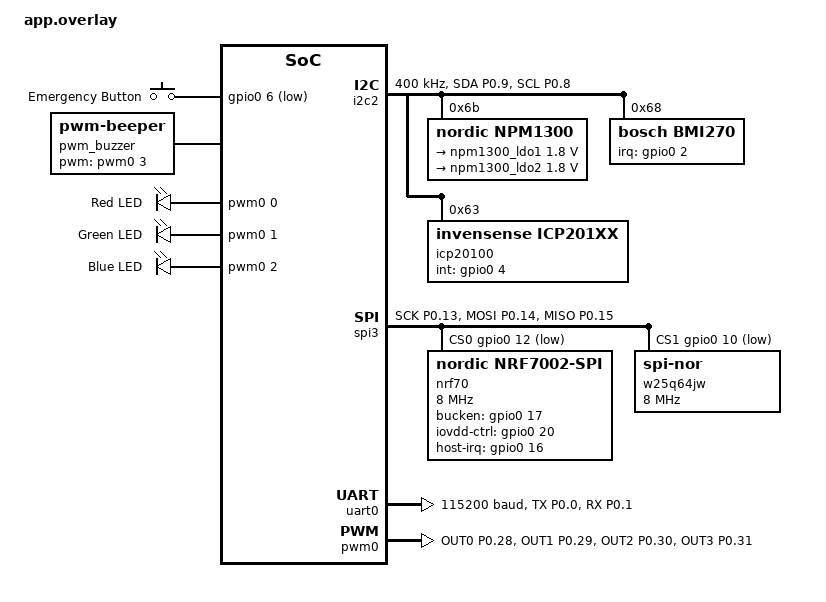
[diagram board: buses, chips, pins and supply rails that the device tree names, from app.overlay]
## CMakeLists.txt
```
# SPDX-License-Identifier: Apache-2.0
cmake_minimum_required(VERSION 3.20.0)

find_package(Zephyr REQUIRED HINTS $ENV{ZEPHYR_BASE})
project(gnss)

target_sources(app PRIVATE src/main.c)
```

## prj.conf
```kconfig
# ==========================================================
# SYSTEM, KERNEL & MEMORY
# ==========================================================
CONFIG_EVENTS=y
CONFIG_ZBUS=y
CONFIG_SMF=y
CONFIG_ZBUS_MSG_SUBSCRIBER=y

# --- ADJUSTED MEMORY LIMITS TO FIT IN RAM ---
CONFIG_MAIN_STACK_SIZE=4096
CONFIG_SYSTEM_WORKQUEUE_STACK_SIZE=4096
CONFIG_HEAP_MEM_POOL_SIZE=16000

# --- CATCH CRASHES IN HUMAN TEXT ---
CONFIG_HW_STACK_PROTECTION=y
CONFIG_INIT_STACKS=y
CONFIG_THREAD_STACK_INFO=y

# ==========================================================
# C++ & EDGE IMPULSE SDK (Replaces Picolibc)
# ==========================================================
CONFIG_CPP=y
CONFIG_STD_CPP17=y
CONFIG_REQUIRES_FULL_LIBCPP=y
CONFIG_NEWLIB_LIBC=y
CONFIG_NEWLIB_LIBC_FLOAT_PRINTF=y
CONFIG_CBPRINTF_FP_SUPPORT=y
CONFIG_FPU=y

# ==========================================================
# CONSOLE & LOGGING
# ==========================================================
CONFIG_SERIAL=y
CONFIG_CONSOLE=y
CONFIG_UART_CONSOLE=y
CONFIG_STDOUT_CONSOLE=y
CONFIG_PRINTK=y
CONFIG_LOG=y
CONFIG_LOG_MODE_IMMEDIATE=y
CONFIG_STACK_SENTINEL=y             

# ==========================================================
# SENSORS: I2C (BMI270/ICP20100 now driven by raw I2C)
# ==========================================================
CONFIG_I2C=y

CONFIG_ASSERT=y
CONFIG_THREAD_NAME=y
CONFIG_RESET_ON_FATAL_ERROR=n

# ==========================================================
# UI: OLED + PWM LEDs + BUZZER
# ==========================================================
CONFIG_DISPLAY=n
#CONFIG_SSD1306=y
#CONFIG_CHARACTER_FRAMEBUFFER=y
CONFIG_PWM=y
CONFIG_LED=y
CONFIG_LED_PWM=y

# ==========================================================
# PMIC: nPM1300
# ==========================================================
CONFIG_SENSOR=y
CONFIG_MFD_NPM13XX=y
CONFIG_REGULATOR=y
CONFIG_REGULATOR_NPM13XX=y
CONFIG_CHARGER=y
CONFIG_NPM13XX_CHARGER=y

# ==========================================================
# WI-FI (SCAN ONLY)
# ==========================================================
CONFIG_SPI=y
CONFIG_WIFI=y
CONFIG_WIFI_NRF70=y
CONFIG_NETWORKING=y
CONFIG_NET_MGMT=y
CONFIG_NET_MGMT_EVENT=y
CONFIG_NET_MGMT_EVENT_INFO=y
CONFIG_NET_MGMT_EVENT_QUEUE_SIZE=16
CONFIG_NET_L2_WIFI_MGMT=y

CONFIG_NET_L2_ETHERNET=y
CONFIG_NET_IPV4=y

CONFIG_NRF_WIFI_CTRL_HEAP_SIZE=10000
CONFIG_NRF_WIFI_DATA_HEAP_SIZE=12000


# Enable a random MAC address
CONFIG_WIFI_RANDOM_MAC_ADDRESS=y

# Enable a hardware entropy generator 
CONFIG_ENTROPY_GENERATOR=y

CONFIG_WIFI_LOG_LEVEL_INF=y
CONFIG_WIFI_NRF70_LOG_LEVEL_INF=y
CONFIG_NET_LOG=y

CONFIG_NRF70_RX_NUM_BUFS=4
CONFIG_NET_BUF_RX_COUNT=6
CONFIG_NET_BUF_TX_COUNT=6
CONFIG_NET_PKT_RX_COUNT=4
CONFIG_NET_PKT_TX_COUNT=4

CONFIG_NET_TX_STACK_SIZE=1024
CONFIG_NET_RX_STACK_SIZE=1024


# ==========================================================
# LTE MODEM (nRF9151 — socket offload for MQTT)
# ==========================================================
CONFIG_NRF_MODEM_LIB=y
CONFIG_LTE_LINK_CONTROL=y
CONFIG_LTE_NETWORK_MODE_LTE_M_GPS=y
CONFIG_MODEM_INFO=y
CONFIG_NET_SOCKETS=y
CONFIG_NET_SOCKETS_OFFLOAD=y
CONFIG_POSIX_API=y
# RC oscillator — no external 32 kHz crystal on custom PCB
CONFIG_CLOCK_CONTROL_NRF_K32SRC_XTAL=n
CONFIG_CLOCK_CONTROL_NRF_K32SRC_RC=y
CONFIG_CLOCK_CONTROL_NRF_K32SRC_500PPM=y

CONFIG_NET_IPV6=n

# ==========================================================
# MQTT
# ==========================================================
CONFIG_MQTT_HELPER=y
CONFIG_MQTT_CLEAN_SESSION=y
CONFIG_MQTT_KEEPALIVE=1200

CONFIG_MFD_NPM13XX_INIT_PRIORITY=74
CONFIG_REGULATOR_NPM13XX_COMMON_INIT_PRIORITY=75
CONFIG_REGULATOR_NPM13XX_INIT_PRIORITY=76
CONFIG_SENSOR_INIT_PRIORITY=80
CONFIG_WIFI_INIT_PRIORITY=85

CONFIG_BMI270=n
CONFIG_ICP201XX=n

# --- FIX NETWORK INTERFACE ALLOCATION CRASH ---
CONFIG_NET_IF_MAX_IPV4_COUNT=2
CONFIG_NET_IF_UNICAST_IPV4_ADDR_COUNT=2
CONFIG_NET_MAX_CONTEXTS=4

CONFIG_NET_TCP=n
CONFIG_NET_UDP=y
# ==========================================================
# EXTERNAL SPI NOR FLASH: Winbond W25Q64JW on SPI3 (CS=P0.10)
# ==========================================================
CONFIG_FLASH=y
CONFIG_FLASH_PAGE_LAYOUT=y
CONFIG_FLASH_MAP=y
CONFIG_SPI_NOR=y
# Sector-granularity flash layout (4 KB erase units)
CONFIG_SPI_NOR_FLASH_LAYOUT_PAGE_SIZE=4096

# ==========================================================
# A-GNSS: nRF Cloud assistance over REST (added for GNSS vs
# A-GNSS comparison test)
# ==========================================================

# NOTE: the device must be onboarded to an nRF Cloud account with
# credentials in sec tag 16842753 (CONFIG_NRF_CLOUD_SEC_TAG default),
# otherwise the REST call returns 401/403.
CONFIG_NRF_CLOUD=y
CONFIG_NRF_CLOUD_AGNSS=y
CONFIG_NRF_CLOUD_REST=y
# JWT authentication is generated by the modem itself
CONFIG_MODEM_JWT=y
# NRF_CLOUD_AGNSS dependency (network info in MODEM_INFO)
CONFIG_MODEM_INFO_ADD_NETWORK=y
# Time source for JWT validity
CONFIG_DATE_TIME=y
```

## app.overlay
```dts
#include <zephyr/dt-bindings/regulator/npm13xx.h>
#include <zephyr/dt-bindings/i2c/i2c.h>

&pinctrl {
    /* --- UART0 --- */
    uart0_default: uart0_default {
        group1 {
            psels = <NRF_PSEL(UART_TX, 0, 0)>,
                    <NRF_PSEL(UART_RX, 0, 1)>;
        };
    };
    uart0_sleep: uart0_sleep {
        group1 {
            psels = <NRF_PSEL(UART_TX, 0, 0)>,
                    <NRF_PSEL(UART_RX, 0, 1)>;
            low-power-enable;
        };
    };

    i2c2_default: i2c2_default {
        group1 {
            psels = <NRF_PSEL(TWIM_SDA, 0, 9)>,
                    <NRF_PSEL(TWIM_SCL, 0, 8)>;
        };
    };
    i2c2_sleep: i2c2_sleep {
        group1 {
            psels = <NRF_PSEL(TWIM_SDA, 0, 9)>,
                    <NRF_PSEL(TWIM_SCL, 0, 8)>;
            low-power-enable;
        };
    };

    /* --- SPI3 --- */
    spi3_default: spi3_default {
        group1 {
            psels = <NRF_PSEL(SPIM_SCK,  0, 13)>,
                    <NRF_PSEL(SPIM_MOSI, 0, 14)>,
                    <NRF_PSEL(SPIM_MISO, 0, 15)>;
            /* ADD THESE TWO LINES: */
            nordic,drive-mode = <NRF_DRIVE_H0H1>;
            bias-pull-up;
        };
    };
    spi3_sleep: spi3_sleep {
        group1 {
            psels = <NRF_PSEL(SPIM_SCK, 0, 13)>,
                    <NRF_PSEL(SPIM_MOSI, 0, 14)>,
                    <NRF_PSEL(SPIM_MISO, 0, 15)>;
            low-power-enable;
        };
    };

    /* --- PWM0 --- */
    pwm0_default: pwm0_default {
        group1 {
            /* RED=P0.28, GREEN=P0.29, BLUE=P0.30, BUZZER=P0.31 */
            psels = <NRF_PSEL(PWM_OUT0, 0, 28)>,
                    <NRF_PSEL(PWM_OUT1, 0, 29)>,
                    <NRF_PSEL(PWM_OUT2, 0, 30)>,
                    <NRF_PSEL(PWM_OUT3, 0, 31)>;
        };
    };
    pwm0_sleep: pwm0_sleep {
        group1 {
            psels = <NRF_PSEL(PWM_OUT0, 0, 28)>,
                    <NRF_PSEL(PWM_OUT1, 0, 29)>,
                    <NRF_PSEL(PWM_OUT2, 0, 30)>,
                    <NRF_PSEL(PWM_OUT3, 0, 31)>;
            low-power-enable;
        };
    };
};


&i2c2 {
    status = "okay";
    pinctrl-0 = <&i2c2_default>;
    pinctrl-1 = <&i2c2_sleep>;
    pinctrl-names = "default", "sleep";
    clock-frequency = <I2C_BITRATE_FAST>;

    /* Allocate RAM buffer for the BMI270 8KB config bursts */
    zephyr,concat-buf-size = <2048>;
    zephyr,flash-buf-max-size = <2048>;

    npm1300: pmic@6b {
        compatible = "nordic,npm1300";
        reg = <0x6b>;
        status = "okay"; /* Enable the PMIC parent */

        npm1300_regulators: regulators {
            compatible = "nordic,npm1300-regulator";
            status = "okay"; /* Enable the regulator subsystem */
        };

        npm1300_charger: charger {
            compatible = "nordic,npm1300-charger";
            status = "okay";
            /* Increase USB input current limit to 500mA to prevent boot brownouts */
            vbus-limit-microamp = <1000000>;
            term-microvolt = <4200000>;
            current-microamp = <150000>;
            dischg-limit-microamp = <1000000>;
            thermistor-ohms = <10000>;
            thermistor-beta = <3435>;

            charging-enable;
        };

    };


    /* Bosch BMI270 IMU */
    bmi270: bmi270@68 {
        compatible = "bosch,bmi270";
        reg = <0x68>;
        irq-gpios = <&gpio0 2 (GPIO_ACTIVE_HIGH | GPIO_PULL_DOWN)>;
    };

    /* TDK Barometer */
    icp20100: icp20100@63 {
        compatible = "invensense,icp201xx";
        reg = <0x63>;
        int-gpios = <&gpio0 4 GPIO_ACTIVE_HIGH>;
    };

};

&npm1300_regulators {
    npm1300_ldo1: LDO1 {
        status = "okay";
        /* Fixed: Lowered to 1.8V to match nRF9151 GPIO logic levels */
        regulator-min-microvolt = <1800000>;
        regulator-max-microvolt = <1800000>;
        regulator-initial-mode = <NPM13XX_LDSW_MODE_LDSW>;
        active-discharge;
        regulator-boot-on;
        regulator-always-on;
    };

        npm1300_ldo2: LDO2 {
        /* Set the voltage to 1.8V */
        regulator-min-microvolt = <1800000>;
        regulator-max-microvolt = <1800000>;
        regulator-init-microvolt = <1800000>;        /* Force early power-on during boot */
        regulator-initial-mode = <NPM13XX_LDSW_MODE_LDSW>;
        active-discharge;
        regulator-boot-on;
        regulator-always-on;
    };
};


&spi3 {
    status = "okay";
    pinctrl-0 = <&spi3_default>;
    pinctrl-1 = <&spi3_sleep>;
    pinctrl-names = "default", "sleep";

    /* CS0 = nRF7002 (P0.12), CS1 = W25Q64JW flash (P0.10) */
    cs-gpios = <&gpio0 12 GPIO_ACTIVE_LOW>,
               <&gpio0 10 GPIO_ACTIVE_LOW>;

	nrf70: nrf7002@0 {
        compatible = "nordic,nrf7002-spi";
        status = "okay";
        reg = <0>;
        spi-max-frequency = <DT_FREQ_M(8)>;
        iovdd-power-up-delay-ms = <100>;

        bucken-gpios    = <&gpio0 17 GPIO_ACTIVE_HIGH>;
        iovdd-ctrl-gpios = <&gpio0 20 GPIO_ACTIVE_HIGH>;
        iovdd-regulator = <&npm1300_ldo1>;
        host-irq-gpios  = <&gpio0 16 GPIO_ACTIVE_HIGH>;

        nordic_wlan0: wlan0 {
            compatible = "nordic,wlan";
            local-mac-address = [F6 CE 36 00 00 01];
        };

        /* TX power properties - REDUCED FOR BATTERY */
        wifi-max-tx-pwr-2g-dsss = <10>;         // Was 21 → Now 10 dBm
        wifi-max-tx-pwr-2g-mcs0 = <8>;          // Was 16 → Now 8 dBm
        wifi-max-tx-pwr-2g-mcs7 = <8>;          // Was 16 → Now 8 dBm
        wifi-max-tx-pwr-5g-low-mcs0 = <6>;      // Was 9 → Now 6 dBm
        wifi-max-tx-pwr-5g-low-mcs7 = <6>;      // Was 9 → Now 6 dBm
        wifi-max-tx-pwr-5g-mid-mcs0 = <8>;      // Was 11 → Now 8 dBm
        wifi-max-tx-pwr-5g-mid-mcs7 = <8>;      // Was 11 → Now 8 dBm
        wifi-max-tx-pwr-5g-high-mcs0 = <10>;    // Was 13 → Now 10 dBm
        wifi-max-tx-pwr-5g-high-mcs7 = <10>;    // Was 13 → Now 10 dBm
    };

    w25q64jw: w25q64jw@1 {
        compatible = "jedec,spi-nor";
        status = "okay";
        reg = <1>;
        spi-max-frequency = <DT_FREQ_M(8)>;
        jedec-id = [ef 60 17];
        size = <0x4000000>;
        /* Deep power-down support -- enable later for battery savings
         * in the final project (datasheet tDP/tRES1, values in ns):
         * has-dpd;
         * t-enter-dpd = <3000>;
         * t-exit-dpd = <30000>;
         */
    };
};


/ {
    aliases {
        sw0 = &button_em;
        buzzer = &pwm_buzzer;
        led0 = &led_red;
        led1 = &led_green;
        led2 = &led_blue;
    };

    buttons {
        compatible = "gpio-keys";
        button_em: button_0 {
            gpios = <&gpio0 6 (GPIO_PULL_UP | GPIO_ACTIVE_LOW)>;
            label = "Emergency Button";
        };
    };

    /* Buzzer PWM routing */
    pwm_buzzer: pwm_buzzer {
        compatible = "pwm-beeper";
        pwms = <&pwm0 3 PWM_HZ(4000) PWM_POLARITY_NORMAL>;
    };

    pwmleds {
        compatible = "pwm-leds";
        led_red: led_pwm_0 {
            pwms = <&pwm0 0 PWM_MSEC(20) PWM_POLARITY_NORMAL>;
            label = "Red LED";
        };
        led_green: led_pwm_1 {
            pwms = <&pwm0 1 PWM_MSEC(20) PWM_POLARITY_NORMAL>;
            label = "Green LED";
        };
        led_blue: led_pwm_2 {
            pwms = <&pwm0 2 PWM_MSEC(20) PWM_POLARITY_NORMAL>;
            label = "Blue LED";
        };
    };

	chosen {
		zephyr,wifi = &nordic_wlan0;
        ncs,location-wifi = &nordic_wlan0;
	};
};

/* Enable UART0 */
&uart0 {
    status = "okay";
    pinctrl-0 = <&uart0_default>;
    pinctrl-1 = <&uart0_sleep>;
    pinctrl-names = "default", "sleep";
    current-speed = <115200>;
};

/* Enable PWM0 */
&pwm0 {
    status = "okay";
    pinctrl-0 = <&pwm0_default>;
    pinctrl-1 = <&pwm0_sleep>;
    pinctrl-names = "default", "sleep";
};
```

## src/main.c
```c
#include <zephyr/kernel.h>
#include <zephyr/logging/log.h>
#include <modem/lte_lc.h>
#include <modem/nrf_modem_lib.h>
#include <nrf_modem_at.h>
#include <nrf_modem_gnss.h>
#include <stdio.h>

LOG_MODULE_REGISTER(gnss_test, LOG_LEVEL_INF);

static struct nrf_modem_gnss_pvt_data_frame pvt;
static K_SEM_DEFINE(pvt_sem, 0, 1);

static int64_t start_time_ms;
static bool first_fix_reported;

/* GNSS event handler — runs in interrupt context: read the data
 * and hand off to the main thread, nothing heavier. */
static void gnss_event_handler(int event)
{
    if (event == NRF_MODEM_GNSS_EVT_PVT) {
        if (nrf_modem_gnss_read(&pvt, sizeof(pvt), NRF_MODEM_GNSS_DATA_PVT) == 0) {
            k_sem_give(&pvt_sem);
        }
    }
}

static void print_satellite_stats(const struct nrf_modem_gnss_pvt_data_frame *p)
{
    int tracked = 0;
    int used = 0;

    for (int i = 0; i < NRF_MODEM_GNSS_MAX_SATELLITES; i++) {
        if (p->sv[i].sv == 0) {
            continue; /* Empty slot */
        }
        tracked++;
        if (p->sv[i].flags & NRF_MODEM_GNSS_SV_FLAG_USED_IN_FIX) {
            used++;
        }
        /* cn0 is in units of 0.1 dB-Hz */
        printk("  SV %3u  C/N0 %2u.%u dB-Hz  elev %2d  %s\n",
               p->sv[i].sv,
               p->sv[i].cn0 / 10, p->sv[i].cn0 % 10,
               p->sv[i].elevation,
               (p->sv[i].flags & NRF_MODEM_GNSS_SV_FLAG_USED_IN_FIX) ?
                   "[in fix]" : "");
    }

    printk("Tracking %d satellites (%d used in fix)\n", tracked, used);
}

static void print_pvt(const struct nrf_modem_gnss_pvt_data_frame *p)
{
    if (p->flags & NRF_MODEM_GNSS_PVT_FLAG_FIX_VALID) {
        if (!first_fix_reported) {
            first_fix_reported = true;
            printk("\n*** FIRST FIX — TTFF: %lld s ***\n",
                   (k_uptime_get() - start_time_ms) / 1000);
        }
        printk("FIX  Lat: %.6f  Lon: %.6f  Alt: %.1f m  Acc: %.1f m\n",
               p->latitude, p->longitude,
               (double)p->altitude, (double)p->accuracy);
        printk("     Speed: %.1f m/s  Heading: %.1f  %04u-%02u-%02u %02u:%02u:%02u UTC\n",
               (double)p->speed, (double)p->heading,
               p->datetime.year, p->datetime.month, p->datetime.day,
               p->datetime.hour, p->datetime.minute, p->datetime.seconds);
    } else {
        printk("Searching... (elapsed %lld s)\n",
               (k_uptime_get() - start_time_ms) / 1000);
        if (p->flags & NRF_MODEM_GNSS_PVT_FLAG_NOT_ENOUGH_WINDOW_TIME) {
            printk("  (warning: GNSS not getting enough runtime)\n");
        }
    }

    print_satellite_stats(p);
    printk("\n");
}

int main(void)
{
    int err;

    printk("=== nRF9151 standalone GNSS + LNA test ===\n");

    /* 1. Bring up the modem library (modem starts in CFUN=0). */
    err = nrf_modem_lib_init();
    if (err) {
        LOG_ERR("Modem library init failed: %d", err);
        return -1;
    }

    /* 2. Configure COEX0 to drive the external GNSS LNA enable pin.
     *    "1,1,1565,1586" = enable COEX0, active HIGH, for the GNSS
     *    L1 band 1565-1586 MHz. Must be sent while modem is inactive. */
    err = nrf_modem_at_printf("AT%%XCOEX0=1,1,1565,1586");
    if (err) {
        LOG_ERR("Failed to configure COEX0 for LNA: %d", err);
        LOG_ERR("LNA will stay OFF — expect weak/no satellites!");
        /* Continue anyway so you can compare with/without LNA. */
    } else {
        LOG_INF("COEX0 configured: LNA enabled during GNSS reception");
    }

    /* DIAGNOSTICS: read back what the modem actually stored, and
     * print the modem firmware version. */
    char resp[128];
    if (nrf_modem_at_cmd(resp, sizeof(resp), "AT%%XCOEX0?") == 0) {
        LOG_INF("COEX0 readback: %s", resp);
    } else {
        LOG_WRN("COEX0 readback failed");
    }
    if (nrf_modem_at_cmd(resp, sizeof(resp), "AT+CGMR") == 0) {
        LOG_INF("Modem FW: %s", resp);
    }

    char token_resp[256];

    if (nrf_modem_at_cmd(token_resp, sizeof(token_resp), "AT%%ATTESTTOKEN") == 0) {
        LOG_INF("Attestation Token: %s", token_resp);
    } else {
        LOG_WRN("Failed to retrieve attestation token");
    }

    /* 3. Register the GNSS event handler BEFORE activating GNSS. */
    err = nrf_modem_gnss_event_handler_set(gnss_event_handler);
    if (err) {
        LOG_ERR("Failed to set GNSS event handler: %d", err);
        return -1;
    }

    /* 4. GNSS-only functional mode — no LTE, no SIM required. */
    err = lte_lc_func_mode_set(LTE_LC_FUNC_MODE_ACTIVATE_GNSS);
    if (err) {
        LOG_ERR("Failed to activate GNSS functional mode: %d", err);
        return -1;
    }

    /* 5. Continuous navigation: one PVT every second.
     *    (The final project uses single-fix mode with a 180 s retry;
     *    continuous mode is better for RF bring-up.) */
    err = nrf_modem_gnss_fix_interval_set(1);
    if (err) {
        LOG_ERR("Failed to set fix interval: %d", err);
        return -1;
    }

    err = nrf_modem_gnss_start();
    if (err) {
        LOG_ERR("Failed to start GNSS: %d", err);
        return -1;
    }

    start_time_ms = k_uptime_get();
    LOG_INF("GNSS started, waiting for satellites (go outdoors / near a window)...");

    while (1) {
        k_sem_take(&pvt_sem, K_FOREVER);
        print_pvt(&pvt);
    }

    return 0;
}
```
